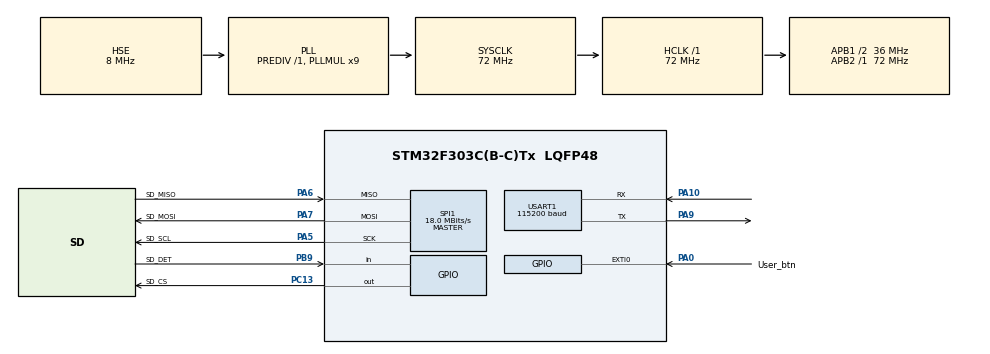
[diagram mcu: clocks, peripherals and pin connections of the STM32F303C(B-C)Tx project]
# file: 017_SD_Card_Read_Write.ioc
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Dma.Request0=USART1_RX
Dma.Request1=USART1_TX
Dma.USART1_RX.0.Direction=DMA_PERIPH_TO_MEMORY
Dma.USART1_RX.0.Instance=DMA1_Channel5
Dma.USART1_RX.0.MemDataAlignment=DMA_MDATAALIGN_BYTE
Dma.USART1_RX.0.MemInc=DMA_MINC_ENABLE
Dma.USART1_RX.0.Mode=DMA_NORMAL
Dma.USART1_RX.0.PeriphDataAlignment=DMA_PDATAALIGN_BYTE
Dma.USART1_RX.0.PeriphInc=DMA_PINC_DISABLE
Dma.USART1_RX.0.Priority=DMA_PRIORITY_LOW
Dma.USART1_TX.1.Direction=DMA_MEMORY_TO_PERIPH
Dma.USART1_TX.1.Instance=DMA1_Channel4
Dma.USART1_TX.1.MemDataAlignment=DMA_MDATAALIGN_BYTE
Dma.USART1_TX.1.MemInc=DMA_MINC_ENABLE
Dma.USART1_TX.1.Mode=DMA_NORMAL
Dma.USART1_TX.1.PeriphDataAlignment=DMA_PDATAALIGN_BYTE
Dma.USART1_TX.1.PeriphInc=DMA_PINC_DISABLE
Dma.USART1_TX.1.Priority=DMA_PRIORITY_LOW
FATFS._MAX_SS=4096
Mcu.Family=STM32F3
Mcu.Name=STM32F303C(B-C)Tx
Mcu.Package=LQFP48
NVIC.DMA1_Channel4_IRQn=true\:0\:0\:false\:false\:true\:false\:true\:true
NVIC.DMA1_Channel5_IRQn=true\:0\:0\:false\:false\:true\:false\:true\:true
NVIC.EXTI0_IRQn=true\:0\:0\:false\:false\:true\:true\:true\:true
NVIC.PriorityGroup=NVIC_PRIORITYGROUP_4
NVIC.USART1_IRQn=true\:0\:0\:false\:false\:true\:true\:true\:true
PA0.GPIO_Label=User_btn
PA0.Signal=GPXTI0
PA10.Mode=Asynchronous
PA10.Signal=USART1_RX
PA5.GPIO_Label=SD_SCL
PA5.Mode=Full_Duplex_Master
PA5.Signal=SPI1_SCK
PA6.GPIO_Label=SD_MISO
PA6.Mode=Full_Duplex_Master
PA6.Signal=SPI1_MISO
PA7.GPIO_Label=SD_MOSI
PA7.Mode=Full_Duplex_Master
PA7.Signal=SPI1_MOSI
PA9.Mode=Asynchronous
PA9.Signal=USART1_TX
PB9.GPIO_Label=SD_DET
PB9.Signal=GPIO_Input
PC13.GPIO_Label=SD_CS
PC13.Signal=GPIO_Output
PF0-OSC_IN.Mode=HSE-External-Oscillator
PF0-OSC_IN.Signal=RCC_OSC_IN
PF1-OSC_OUT.Mode=HSE-External-Oscillator
PF1-OSC_OUT.Signal=RCC_OSC_OUT
ProjectManager.HeapSize=0x200
ProjectManager.StackSize=0x400
ProjectManager.TargetToolchain=STM32CubeIDE
RCC.AHBFreq_Value=72000000
RCC.APB1CLKDivider=RCC_HCLK_DIV2
RCC.APB1Freq_Value=36000000
RCC.APB1TimFreq_Value=72000000
RCC.APB2Freq_Value=72000000
RCC.APB2TimFreq_Value=72000000
RCC.CortexFreq_Value=72000000
RCC.HCLKFreq_Value=72000000
RCC.HSE_VALUE=8000000
RCC.HSI_VALUE=8000000
RCC.LSE_VALUE=32768
RCC.PLLMUL=RCC_PLL_MUL9
RCC.PLLSourceVirtual=RCC_PLLSOURCE_HSE
RCC.SYSCLKFreq_VALUE=72000000
RCC.SYSCLKSourceVirtual=RCC_SYSCLKSOURCE_PLLCLK
RCC.USBFreq_Value=72000000
SPI1.BaudRatePrescaler=SPI_BAUDRATEPRESCALER_4
SPI1.CalculateBaudRate=18.0 MBits/s
SPI1.DataSize=SPI_DATASIZE_8BIT
SPI1.Direction=SPI_DIRECTION_2LINES
SPI1.Mode=SPI_MODE_MASTER
SPI1.VirtualType=VM_MASTER
USART1.BaudRate=115200
USART1.VirtualMode-Asynchronous=VM_ASYNC
VP_FATFS_VS_Generic.Mode=User_defined
board=custom

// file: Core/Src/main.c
/* USER CODE BEGIN Header */
/**
  ******************************************************************************
  * @file           : main.c
  * @brief          : Main program body
  ******************************************************************************
  * @attention
  *
  * Copyright (c) 2024 STMicroelectronics.
  * All rights reserved.
  *
  * This software is licensed under terms that can be found in the LICENSE file
  * in the root directory of this software component.
  * If no LICENSE file comes with this software, it is provided AS-IS.
  *
  ******************************************************************************
  */
/* USER CODE END Header */
#include "main.h"
#include "fatfs.h"

/* USER CODE BEGIN Includes */
#include "fatfs_sd.h"
#include "sd_card.h"
#include <string.h>
#include <stdarg.h>
#include <stdio.h>

/* USER CODE END Includes */

SPI_HandleTypeDef hspi1;

UART_HandleTypeDef huart1;
DMA_HandleTypeDef hdma_usart1_rx;
DMA_HandleTypeDef hdma_usart1_tx;

/* USER CODE BEGIN PV */
FATFS fs;
FIL file;
const char *filename = "default.txt";

uint8_t data_received = false;
uint8_t button_press = false;

uint8_t uart_rx_buff1[RX_BUF_SIZE];
uint8_t uart_rx_buff2[RX_BUF_SIZE];
uint8_t *current_rx_buff = uart_rx_buff1;
uint8_t *processing_buff = uart_rx_buff2;
/* USER CODE END PV */

void SystemClock_Config(void);
static void MX_GPIO_Init(void);
static void MX_DMA_Init(void);
static void MX_SPI1_Init(void);
static void MX_USART1_UART_Init(void);

/* USER CODE BEGIN 0 */
/**
  * @brief Transmit formatted string via UART.
  * @param format Pointer to the format string.
  * @param ... Additional arguments to format.
  * @retval None
  */
void printmsg(char *format,...)
{
  char str[100];

  /*Extract the the argument list using VA apis */
  va_list args;
  va_start(args, format);
  vsprintf(str, format,args);
  HAL_UART_Transmit(&huart1, (uint8_t*)str, strlen(str), HAL_MAX_DELAY);
  va_end(args);
}
/* USER CODE END 0 */

int main(void)
{

  /* MCU Configuration--------------------------------------------------------*/

  /* Reset of all peripherals, Initializes the Flash interface and the Systick. */
  HAL_Init();

  /* Configure the system clock */
  SystemClock_Config();

  /* Initialize all configured peripherals */
  MX_GPIO_Init();
  MX_DMA_Init();
  MX_SPI1_Init();
  MX_USART1_UART_Init();
  MX_FATFS_Init();
  /* USER CODE BEGIN 2 */
	// Wait for SD card detection
	while (!check_sd_card_status()) {
		printmsg("Insert the SD card!!!\r\n");
		HAL_Delay(1000);
	}

	printmsg("Please enter the data to be written to the SD card.\r\n");
	HAL_UARTEx_ReceiveToIdle_DMA(&huart1, current_rx_buff, RX_BUF_SIZE);
	__HAL_DMA_DISABLE_IT(&hdma_usart1_rx, DMA_IT_HT);
  /* USER CODE END 2 */

  /* Infinite loop */
  while (1)
  {

    /* USER CODE BEGIN 3 */
    set_filename("test.txt");
    store_received_data();
    display_stored_data();
  }
  /* USER CODE END 3 */
}

void SystemClock_Config(void)
{
  RCC_OscInitTypeDef RCC_OscInitStruct = {0};
  RCC_ClkInitTypeDef RCC_ClkInitStruct = {0};
  RCC_PeriphCLKInitTypeDef PeriphClkInit = {0};

  /** Initializes the RCC Oscillators according to the specified parameters
  * in the RCC_OscInitTypeDef structure.
  */
  RCC_OscInitStruct.OscillatorType = RCC_OSCILLATORTYPE_HSE;
  RCC_OscInitStruct.HSEState = RCC_HSE_ON;
  RCC_OscInitStruct.HSEPredivValue = RCC_HSE_PREDIV_DIV1;
  RCC_OscInitStruct.HSIState = RCC_HSI_ON;
  RCC_OscInitStruct.PLL.PLLState = RCC_PLL_ON;
  RCC_OscInitStruct.PLL.PLLSource = RCC_PLLSOURCE_HSE;
  RCC_OscInitStruct.PLL.PLLMUL = RCC_PLL_MUL9;
  if (HAL_RCC_OscConfig(&RCC_OscInitStruct) != HAL_OK)
  {
    Error_Handler();
  }

  /** Initializes the CPU, AHB and APB buses clocks
  */
  RCC_ClkInitStruct.ClockType = RCC_CLOCKTYPE_HCLK|RCC_CLOCKTYPE_SYSCLK
                              |RCC_CLOCKTYPE_PCLK1|RCC_CLOCKTYPE_PCLK2;
  RCC_ClkInitStruct.SYSCLKSource = RCC_SYSCLKSOURCE_PLLCLK;
  RCC_ClkInitStruct.AHBCLKDivider = RCC_SYSCLK_DIV1;
  RCC_ClkInitStruct.APB1CLKDivider = RCC_HCLK_DIV2;
  RCC_ClkInitStruct.APB2CLKDivider = RCC_HCLK_DIV1;

  if (HAL_RCC_ClockConfig(&RCC_ClkInitStruct, FLASH_LATENCY_2) != HAL_OK)
  {
    Error_Handler();
  }
  PeriphClkInit.PeriphClockSelection = RCC_PERIPHCLK_USART1;
  PeriphClkInit.Usart1ClockSelection = RCC_USART1CLKSOURCE_PCLK2;
  if (HAL_RCCEx_PeriphCLKConfig(&PeriphClkInit) != HAL_OK)
  {
    Error_Handler();
  }
}

static void MX_SPI1_Init(void)
{

  /* SPI1 parameter configuration*/
  hspi1.Instance = SPI1;
  hspi1.Init.Mode = SPI_MODE_MASTER;
  hspi1.Init.Direction = SPI_DIRECTION_2LINES;
  hspi1.Init.DataSize = SPI_DATASIZE_8BIT;
  hspi1.Init.CLKPolarity = SPI_POLARITY_LOW;
  hspi1.Init.CLKPhase = SPI_PHASE_1EDGE;
  hspi1.Init.NSS = SPI_NSS_SOFT;
  hspi1.Init.BaudRatePrescaler = SPI_BAUDRATEPRESCALER_4;
  hspi1.Init.FirstBit = SPI_FIRSTBIT_MSB;
  hspi1.Init.TIMode = SPI_TIMODE_DISABLE;
  hspi1.Init.CRCCalculation = SPI_CRCCALCULATION_DISABLE;
  hspi1.Init.CRCPolynomial = 7;
  hspi1.Init.CRCLength = SPI_CRC_LENGTH_DATASIZE;
  hspi1.Init.NSSPMode = SPI_NSS_PULSE_ENABLE;
  if (HAL_SPI_Init(&hspi1) != HAL_OK)
  {
    Error_Handler();
  }

}

static void MX_USART1_UART_Init(void)
{

  huart1.Instance = USART1;
  huart1.Init.BaudRate = 115200;
  huart1.Init.WordLength = UART_WORDLENGTH_8B;
  huart1.Init.StopBits = UART_STOPBITS_1;
  huart1.Init.Parity = UART_PARITY_NONE;
  huart1.Init.Mode = UART_MODE_TX_RX;
  huart1.Init.HwFlowCtl = UART_HWCONTROL_NONE;
  huart1.Init.OverSampling = UART_OVERSAMPLING_16;
  huart1.Init.OneBitSampling = UART_ONE_BIT_SAMPLE_DISABLE;
  huart1.AdvancedInit.AdvFeatureInit = UART_ADVFEATURE_NO_INIT;
  if (HAL_UART_Init(&huart1) != HAL_OK)
  {
    Error_Handler();
  }

}

static void MX_DMA_Init(void)
{

  /* DMA controller clock enable */
  __HAL_RCC_DMA1_CLK_ENABLE();

  /* DMA interrupt init */
  /* DMA1_Channel4_IRQn interrupt configuration */
  HAL_NVIC_SetPriority(DMA1_Channel4_IRQn, 0, 0);
  HAL_NVIC_EnableIRQ(DMA1_Channel4_IRQn);
  /* DMA1_Channel5_IRQn interrupt configuration */
  HAL_NVIC_SetPriority(DMA1_Channel5_IRQn, 0, 0);
  HAL_NVIC_EnableIRQ(DMA1_Channel5_IRQn);

}

static void MX_GPIO_Init(void)
{
  GPIO_InitTypeDef GPIO_InitStruct = {0};

  /* GPIO Ports Clock Enable */
  __HAL_RCC_GPIOC_CLK_ENABLE();
  __HAL_RCC_GPIOF_CLK_ENABLE();
  __HAL_RCC_GPIOA_CLK_ENABLE();
  __HAL_RCC_GPIOB_CLK_ENABLE();

  /*Configure GPIO pin Output Level */
  HAL_GPIO_WritePin(SD_CS_GPIO_Port, SD_CS_Pin, GPIO_PIN_RESET);

  /*Configure GPIO pin : SD_CS_Pin */
  GPIO_InitStruct.Pin = SD_CS_Pin;
  GPIO_InitStruct.Mode = GPIO_MODE_OUTPUT_PP;
  GPIO_InitStruct.Pull = GPIO_NOPULL;
  GPIO_InitStruct.Speed = GPIO_SPEED_FREQ_LOW;
  HAL_GPIO_Init(SD_CS_GPIO_Port, &GPIO_InitStruct);

  /*Configure GPIO pin : User_btn_Pin */
  GPIO_InitStruct.Pin = User_btn_Pin;
  GPIO_InitStruct.Mode = GPIO_MODE_IT_RISING;
  GPIO_InitStruct.Pull = GPIO_NOPULL;
  HAL_GPIO_Init(User_btn_GPIO_Port, &GPIO_InitStruct);

  /*Configure GPIO pin : SD_DET_Pin */
  GPIO_InitStruct.Pin = SD_DET_Pin;
  GPIO_InitStruct.Mode = GPIO_MODE_INPUT;
  GPIO_InitStruct.Pull = GPIO_NOPULL;
  HAL_GPIO_Init(SD_DET_GPIO_Port, &GPIO_InitStruct);

  /* EXTI interrupt init*/
  HAL_NVIC_SetPriority(EXTI0_IRQn, 0, 0);
  HAL_NVIC_EnableIRQ(EXTI0_IRQn);

}

/* USER CODE BEGIN 4 */
/**
  * @brief  Reception Event Callback (Rx event notification called after use of advanced reception service).
  * @param  huart UART handle
  * @param  Size  Number of data available in application reception buffer (indicates a position in
  *               reception buffer until which, data are available)
  * @retval None
  */
void HAL_UARTEx_RxEventCallback(UART_HandleTypeDef *huart, uint16_t Size) {
  if (huart->Instance == USART1) {
    // Swap buffers
    if (current_rx_buff == uart_rx_buff1) {
      current_rx_buff = uart_rx_buff2;
      processing_buff = uart_rx_buff1;
    } else {
      current_rx_buff = uart_rx_buff1;
      processing_buff = uart_rx_buff2;
    }

    // Set flag to process data
    data_received = true;

    // Re-initiate DMA reception
    HAL_UARTEx_ReceiveToIdle_DMA(&huart1, current_rx_buff, RX_BUF_SIZE);
    __HAL_DMA_DISABLE_IT(&hdma_usart1_rx, DMA_IT_HT);
  }
}

/**
  * @brief  EXTI line detection callback.
  * @param  GPIO_Pin Specifies the port pin connected to corresponding EXTI line.
  * @retval None
  */
void HAL_GPIO_EXTI_Callback(uint16_t GPIO_Pin) {
  if (GPIO_Pin == User_btn_Pin) {
    button_press = true;
  }
}
/* USER CODE END 4 */

void Error_Handler(void)
{
  __disable_irq();
  while (1)
  {
  }
}
